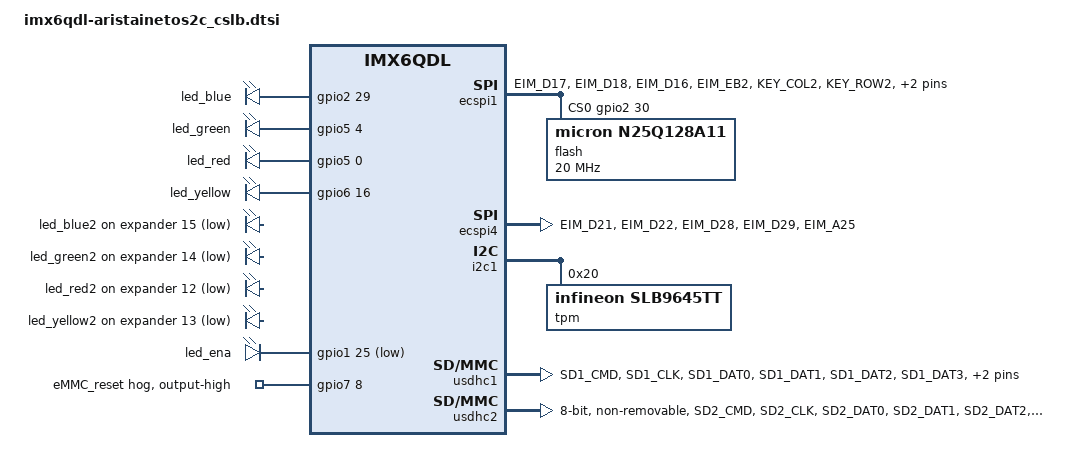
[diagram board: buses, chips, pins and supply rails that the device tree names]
// SPDX-License-Identifier: (GPL-2.0)
/*
 * support for the imx6 based aristainetos2c-cslb board
 *
 * Copyright (C) 2019 Heiko Schocher <hs@denx.de>
 * Copyright (C) 2015 Heiko Schocher <hs@denx.de>
 *
 */
#include <dt-bindings/gpio/gpio.h>
#include <dt-bindings/clock/imx6qdl-clock.h>

#include "imx6qdl-aristainetos2-common.dtsi"

/ {
	leds {
		compatible = "gpio-leds";
		pinctrl-names = "default";
		pinctrl-0 = <&pinctrl_gpio>;

		LED_blue {
			label = "led_blue";
			gpios = <&gpio2 29 GPIO_ACTIVE_HIGH>;
		};

		LED_green {
			label = "led_green";
			gpios = <&gpio5 4 GPIO_ACTIVE_HIGH>;
		};

		LED_red {
			label = "led_red";
			gpios = <&gpio5 0 GPIO_ACTIVE_HIGH>;
		};

		LED_yellow {
			label = "led_yellow";
			gpios = <&gpio6 16 GPIO_ACTIVE_HIGH>;
		};

		LED_blue_2 {
			label = "led_blue2";
			gpios = <&expander 15 GPIO_ACTIVE_LOW>;
			default-state = "off";
		};

		LED_green_2 {
			label = "led_green2";
			gpios = <&expander 14 GPIO_ACTIVE_LOW>;
			default-state = "off";
		};

		LED_red_2 {
			label = "led_red2";
			gpios = <&expander 12 GPIO_ACTIVE_LOW>;
			default-state = "off";
		};

		LED_yellow_2 {
			label = "led_yellow2";
			gpios = <&expander 13 GPIO_ACTIVE_LOW>;
			default-state = "off";
		};

		LED_ena {
			label = "led_ena";
			gpios = <&gpio1 25 GPIO_ACTIVE_LOW>;
		};
	};
};

&ecspi1 {
	fsl,spi-num-chipselects = <3>;
	cs-gpios = <&gpio2 30 GPIO_ACTIVE_HIGH
		    &gpio4 10 GPIO_ACTIVE_HIGH
		    &gpio4 11 GPIO_ACTIVE_HIGH>;
	pinctrl-names = "default";
	pinctrl-0 = <&pinctrl_ecspi1>;
	status = "okay";
	pinctrl-assert-gpios = <&gpio2 28 GPIO_ACTIVE_HIGH>;
	pinctrl-assert-gpios = <&gpio2 15 GPIO_ACTIVE_HIGH>;

	flash: m25p80@0 {
		#address-cells = <1>;
		#size-cells = <1>;
		compatible = "micron,n25q128a11", "jedec,spi-nor";
		spi-max-frequency = <20000000>;
		reg = <0>;
	};
};

&ecspi4 {
	fsl,spi-num-chipselects = <2>;
	cs-gpios = <&gpio3 29 GPIO_ACTIVE_HIGH &gpio5 2 GPIO_ACTIVE_HIGH>;
	pinctrl-names = "default";
	pinctrl-0 = <&pinctrl_ecspi4>;
	status = "okay";
};

&i2c1 {
	tpm@20 {
		compatible = "infineon,slb9645tt";
		reg = <0x20>;
	};
};

&gpio7 {
	eMMC_reset {
		gpio-hog;
		output-high;
		gpios = <8 GPIO_ACTIVE_HIGH>;
	};
};

&usdhc1 {
	pinctrl-names = "default";
	pinctrl-0 = <&pinctrl_usdhc1>;
	cd-gpios = <&gpio1 27 GPIO_ACTIVE_LOW>;
	status = "okay";
};

&usdhc2 {
	pinctrl-names = "default";
	pinctrl-0 = <&pinctrl_usdhc2>;
	bus-width = <8>;
	no-1-8-v;
	non-removable;
	status = "okay";
};

&iomuxc {
	pinctrl_ecspi1: ecspi1grp {
		fsl,pins = <
			MX6QDL_PAD_EIM_D17__ECSPI1_MISO 0x100b1
			MX6QDL_PAD_EIM_D18__ECSPI1_MOSI 0x100b1
			MX6QDL_PAD_EIM_D16__ECSPI1_SCLK 0x100b1
			/* SS0# */
			MX6QDL_PAD_EIM_EB2__GPIO2_IO30 0x100b1
			/* SS1# */
			MX6QDL_PAD_KEY_COL2__GPIO4_IO10 0x100b1
			/* SS2# */
			MX6QDL_PAD_KEY_ROW2__GPIO4_IO11 0x100b1
			/* WP pin NOR Flash */
			MX6QDL_PAD_SD4_DAT7__GPIO2_IO15 0x4001b0b0
			/* Flash nReset */
			MX6QDL_PAD_EIM_EB0__GPIO2_IO28  0x4001b0b0
		>;
	};

	pinctrl_ecspi4: ecspi4grp {
		fsl,pins = <
			MX6QDL_PAD_EIM_D21__ECSPI4_SCLK 0x100b1
			MX6QDL_PAD_EIM_D22__ECSPI4_MISO 0x100b1
			MX6QDL_PAD_EIM_D28__ECSPI4_MOSI 0x100b1
			MX6QDL_PAD_EIM_D29__GPIO3_IO29  0x100b1 /* SS0# */
			MX6QDL_PAD_EIM_A25__GPIO5_IO02  0x100b1 /* SS1# */
		>;
	};

	pinctrl_gpio: gpiogrp {
		fsl,pins = <
			/* led enable */
			MX6QDL_PAD_ENET_CRS_DV__GPIO1_IO25	0x4001b0b0
			/* LCD power enable */
			MX6QDL_PAD_NANDF_CS2__GPIO6_IO15	0x4001b0b0
			/* led yellow */
			MX6QDL_PAD_NANDF_CS3__GPIO6_IO16	0x4001b0b0
			/* led red */
			MX6QDL_PAD_EIM_WAIT__GPIO5_IO00		0x4001b0b0
			/* led green */
			MX6QDL_PAD_EIM_A24__GPIO5_IO04		0x4001b0b0
			/* led blue */
			MX6QDL_PAD_EIM_EB1__GPIO2_IO29		0x4001b0b0
			/* Profibus IRQ */
			MX6QDL_PAD_SD3_DAT5__GPIO7_IO00		0x1b0b0
			/* FPGA IRQ currently unused*/
			MX6QDL_PAD_SD3_DAT6__GPIO6_IO18		0x1b0b0
			/* Display reset because of clock failure */
			MX6QDL_PAD_SD4_DAT3__GPIO2_IO11		0x4001b0b0
			/* spi bus #2 SS driver enable */
			MX6QDL_PAD_EIM_A23__GPIO6_IO06		0x4001b0b0
			/* RST_LOC# PHY reset input (has pull-down!)*/
			MX6QDL_PAD_GPIO_18__GPIO7_IO13		0x4001b0b0
			/* Touchscreen IRQ */
			MX6QDL_PAD_SD4_DAT1__GPIO2_IO09		0x1b0b0
			/* PCIe reset */
			MX6QDL_PAD_EIM_A22__GPIO2_IO16		0x4001b0b0
			/* make sure pin is GPIO and not ENET_REF_CLK */
			MX6QDL_PAD_GPIO_16__GPIO7_IO11		0x4001a0b0
			/* TPM PP */
			MX6QDL_PAD_EIM_A21__GPIO2_IO17		0x4001b0b0
			/* TPM Reset */
			MX6QDL_PAD_EIM_A20__GPIO2_IO18		0x4001b0b0
			/* eMMC Reset# */
			MX6QDL_PAD_SD3_RST__GPIO7_IO08		0x4001b0b0
		>;
	};

	pinctrl_usbotg: usbotggrp {
		fsl,pins = <
			MX6QDL_PAD_ENET_RX_ER__USB_OTG_ID  0x17059
			MX6QDL_PAD_KEY_COL4__USB_OTG_OC    0x1b0b0
		>;
	};

	pinctrl_usdhc1: usdhc1grp {
		fsl,pins = <
			MX6QDL_PAD_SD1_CMD__SD1_CMD    0x17059
			MX6QDL_PAD_SD1_CLK__SD1_CLK    0x10059
			MX6QDL_PAD_SD1_DAT0__SD1_DATA0 0x17059
			MX6QDL_PAD_SD1_DAT1__SD1_DATA1 0x17059
			MX6QDL_PAD_SD1_DAT2__SD1_DATA2 0x17059
			MX6QDL_PAD_SD1_DAT3__SD1_DATA3 0x17059
			/* SD1 card detect input */
			MX6QDL_PAD_ENET_RXD0__GPIO1_IO27	0x1b0b0
		>;
	};

	pinctrl_usdhc2: usdhc2grp {
		fsl,pins = <
			MX6QDL_PAD_SD2_CMD__SD2_CMD		0x17059
			MX6QDL_PAD_SD2_CLK__SD2_CLK		0x10059
			MX6QDL_PAD_SD2_DAT0__SD2_DATA0		0x17059
			MX6QDL_PAD_SD2_DAT1__SD2_DATA1		0x17059
			MX6QDL_PAD_SD2_DAT2__SD2_DATA2		0x17059
			MX6QDL_PAD_SD2_DAT3__SD2_DATA3		0x17059
			MX6QDL_PAD_NANDF_D4__SD2_DATA4		0x17059
			MX6QDL_PAD_NANDF_D5__SD2_DATA5		0x17059
			MX6QDL_PAD_NANDF_D6__SD2_DATA6		0x17059
			MX6QDL_PAD_NANDF_D7__SD2_DATA7		0x17059
		>;
	};
};
